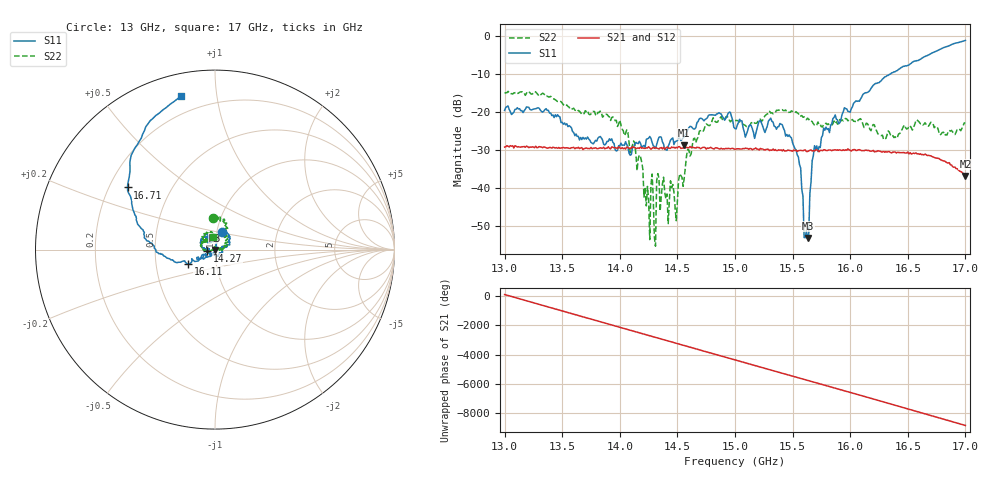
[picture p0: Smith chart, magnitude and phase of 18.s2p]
!Keysight Technologies,P9374A,MY57211807,A.19.30.04
!Date: Friday, May 01, 2026 14:11:39
!Correction: S11(C  2-Port  )
!S21(C  2-Port  )
!S12(C  2-Port  )
!S22(C  2-Port  )
!S2P File: Measurements: S11, S21, S12, S22:
# Hz S  RI  R 50
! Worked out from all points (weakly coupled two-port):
!   401 points, 13 GHz to 17 GHz, reference 50 ohm
!   highest |S21| = -28.79 dB at 14.56 GHz (marker M1); lowest = -36.8 dB at 17 GHz (marker M2)
!   lowest |S11| = -53.1 dB at 15.63 GHz (marker M3), VSWR 1.00, Z = 50.1 - j0.214 ohm
!   |S11| at or under -10 dB: start of sweep to 16.35 GHz
!   |S22| runs from -55.3 to -14.6 dB; largest |S21 - S12| = 0.0025
!   S11 on the Smith chart (normalised r, x): 13 GHz: 1.06, +0.21; 14.27 GHz: 0.91, -0.01; 16.11 GHz: 0.73, -0.12; 16.71 GHz: 0.28, +0.30; 17 GHz: 0.11, +0.80
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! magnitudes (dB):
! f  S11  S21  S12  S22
! 13 GHz  -19.6  -29.2  -29.2  -15.1
! 13.37 GHz  -19.6  -29.5  -29.4  -15.8
! 13.67 GHz  -27.2  -29.4  -29.4  -20.5
! 14.01 GHz  -28.2  -29.6  -29.6  -23.4
! 14.18 GHz  -28.3  -29.2  -29.2  -31.8
! 14.27 GHz  -26.9  -29.7  -29.6  -39.5
! 14.31 GHz  -29.6  -29.3  -29.3  -55.3
! 14.34 GHz  -26.6  -29.7  -29.6  -37.3
! 14.48 GHz  -27.7  -29.5  -29.5  -45.1
! 14.56 GHz  -26.5  -28.8  -28.9  -37.1
! 14.75 GHz  -21.8  -29.7  -29.6  -23.1
! 15 GHz  -24.3  -29.8  -29.8  -22.2
! 15.41 GHz  -23.3  -30.2  -30.2  -19.4
! 15.55 GHz  -31.8  -30.2  -30.2  -20.3
! 15.61 GHz  -53.0  -29.9  -30.0  -21.8
! 15.63 GHz  -53.1  -30.4  -30.3  -21.6
! 15.67 GHz  -32.8  -30.2  -30.3  -22.5
! 15.77 GHz  -24.2  -29.9  -29.9  -23.2
! 16.11 GHz  -15.4  -30.1  -30.1  -23.1
! 16.34 GHz  -10.1  -30.4  -30.4  -25.3
! 16.71 GHz  -4.5  -31.7  -31.6  -22.9
! 17 GHz  -1.2  -36.8  -36.8  -22.9
